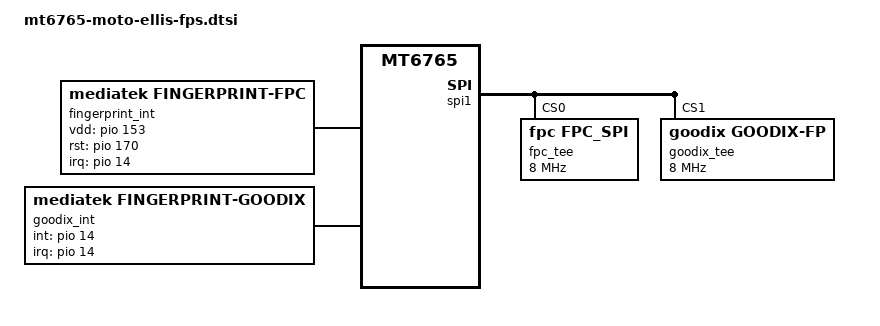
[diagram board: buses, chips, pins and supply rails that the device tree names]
&pio {
	fingerprint_irq: fingerprint_irq {
		pins_cmd_dat {
			pinmux = <PINMUX_GPIO14__FUNC_GPIO14>;
			slew-rate = <0>;
			bias-disable;
		};
	};

	fingerprint_reset_high: fingerprint_reset_high {
		pins_cmd_dat {
			pinmux = <PINMUX_GPIO170__FUNC_GPIO170>;
			slew-rate = <1>;
			output-high;
		};
	};

	fingerprint_reset_low: fingerprint_reset_low {
		pins_cmd_dat {
			pinmux = <PINMUX_GPIO170__FUNC_GPIO170>;
			slew-rate = <1>;
			output-low;
		};
	};
	fingerprint_ldo1p8_high: fingerprint_ldo1p8_high {
		pins_cmd_dat {
			pinmux = <PINMUX_GPIO153__FUNC_GPIO153>;
			slew-rate = <1>;
			output-high;
		};
	};

	fingerprint_ldo1p8_low: fingerprint_ldo1p8_low {
		pins_cmd_dat {
			pinmux = <PINMUX_GPIO153__FUNC_GPIO153>;
			slew-rate = <1>;
			output-low;
		};
	};

/*
        fingerprint_ldo3p3_high: fingerprint_ldo3p3_high {
		pins_cmd_dat {
			pinmux = <PINMUX_GPIO87__FUNC_GPIO87>;
			slew-rate = <1>;
			output-high;
		};
	};

	fingerprint_ldo3p3_low: fingerprint_ldo3p3_low {
		pins_cmd_dat {
			pinmux = <PINMUX_GPIO87__FUNC_GPIO87>;
			slew-rate = <1>;
			output-low;
		};
	};
*/
};

&odm {
	fingerprint_int: fingerprint_int {
		compatible = "mediatek,fingerprint-fpc";
		fpc,enable-wakeup;
		interrupt-parent = <&pio>;
		interrupts = <14 IRQ_TYPE_EDGE_RISING 14 0>;
		pinctrl-names = "fingerprint_irq", "fingerprint_reset_high", "fingerprint_reset_low";
		pinctrl-0 = <&fingerprint_irq>;
		pinctrl-1 = <&fingerprint_reset_high>;
		pinctrl-2 = <&fingerprint_reset_low>;
		fpc,vdd= <&pio 153 0>;
		fpc,rst= <&pio 170 0>;
		fpc,irq = <&pio 14 0>;
		status = "okay";
	};

	goodix_int: goodix_int {
		compatible = "mediatek,fingerprint-goodix";
		interrupt-parent = <&pio>;
		interrupts = <14 IRQ_TYPE_EDGE_RISING 14 0>;
		pinctrl-names = "fingerprint_irq", "fingerprint_reset_high", "fingerprint_reset_low";
		pinctrl-0 = <&fingerprint_irq>;
		pinctrl-1 = <&fingerprint_reset_high>;
		pinctrl-2 = <&fingerprint_reset_low>;
		int-gpios = <&pio 14 0>;
		status = "okay";
	};
};
/* 1.8v */
/* &mt_pmic_vio18_ldo_reg {
	regulator-boot-on;
	regulator-always-on;
}; */
/* 3.3v */
/*
&mt_pmic_vfp_ldo_reg {
	regulator-min-microvolt = <3300000>;
	regulator-max-microvolt = <3300000>;
	regulator-boot-on;
	regulator-always-on;
};
*/
&spi1 {
	#address-cells = <1>;
	#size-cells = <0>;
	mediatek,pad-select = <0>, <1>;
	fpc_tee@0 {
		compatible = "fpc,fpc_spi";
		reg = <0>;
		fpc,enable-wakeup;
		spi-max-frequency = <8000000>;
		netlink-event = <31>;
		status = "okay";
	};

	goodix_tee@1 {
		status = "okay";
		compatible = "goodix,goodix-fp";
		reg = <1>;
		spi-max-frequency = <8000000>;
		netlink-event = <30>;
	};
};
